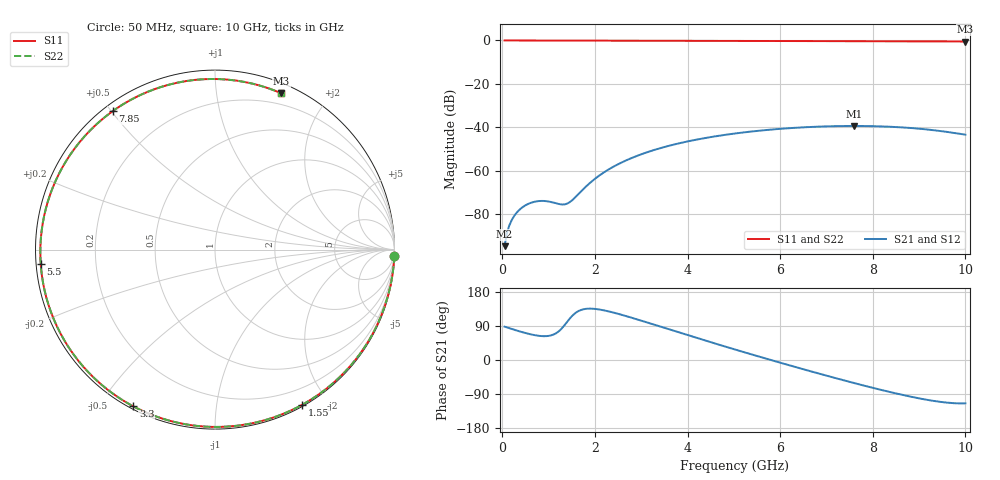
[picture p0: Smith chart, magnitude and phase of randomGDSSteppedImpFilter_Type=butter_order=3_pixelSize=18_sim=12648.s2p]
! freq	dB(S11)	phase(S11)	dB(S12)	phase(S12)
!  dB(S21)	phase(S21)	dB(S22)	phase(S22)
!S-par simulation data
#  GHz  S  DB  R 50
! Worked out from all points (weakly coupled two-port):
!   200 points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, 50 MHz to 10 GHz, reference 50 ohm
!   highest |S21| = -39.35 dB at 7.6 GHz (marker M1); lowest = -94.7 dB at 50 MHz (marker M2)
!   lowest |S11| = -0.5 dB at 10 GHz (marker M3), VSWR 35.93, Z = 4.56 + j75.3 ohm
!   |S11| at or under -10 dB: nowhere
!   |S22| runs from -0.5 to 0.0 dB; largest |S21 - S12| = 0
!   S11 on the Smith chart (normalised r, x): 50 MHz: 0, -56; 1.55 GHz: 0.02, -1.71; 3.3 GHz: 0.01, -0.61; 5.5 GHz: 0.01, -0.04; 7.85 GHz: 0.03, +0.51; 10 GHz: 0.09, +1.51
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0.05  -0.00 -2.1  -94.67 88.0  -94.67 88.0  -0.00 -2.1
0.25  -0.02 -10.2  -80.97 80.2  -80.97 80.2  -0.02 -10.2
0.5  -0.03 -20.2  -75.87 71.2  -75.87 71.2  -0.03 -20.2
0.7  -0.04 -28.2  -74.21 65.5  -74.21 65.5  -0.04 -28.2
0.95  -0.05 -38.0  -73.96 63.0  -73.96 63.0  -0.05 -38.0
1.35  -0.06 -53.2  -75.42 92.8  -75.42 92.8  -0.06 -53.2
1.55  -0.07 -60.6  -72.72 121.2  -72.72 121.2  -0.07 -60.6
1.75  -0.08 -67.8  -68.40 133.8  -68.40 133.8  -0.08 -67.8
2.05  -0.09 -78.2  -62.87 134.1  -62.87 134.1  -0.09 -78.2
2.4  -0.10 -89.9  -58.09 125.2  -58.09 125.2  -0.10 -89.9
3.3  -0.13 -117.5  -50.27 92.5  -50.27 92.5  -0.13 -117.5
3.4  -0.14 -120.4  -49.63 88.6  -49.63 88.6  -0.14 -120.4
4.25  -0.17 -143.7  -45.41 56.3  -45.41 56.3  -0.17 -143.7
5.05  -0.20 -164.2  -42.74 26.8  -42.74 26.8  -0.20 -164.2
5.5  -0.23 -175.3  -41.63 10.6  -41.63 10.6  -0.23 -175.3
6.1  -0.26 170.0  -40.52 -10.5  -40.52 -10.5  -0.26 170.0
6.7  -0.29 155.3  -39.77 -31.2  -39.77 -31.2  -0.29 155.3
7.6  -0.35 132.8  -39.35 -60.9  -39.35 -60.9  -0.35 132.8
7.85  -0.36 126.4  -39.39 -68.8  -39.39 -68.8  -0.36 126.4
8.35  -0.39 113.3  -39.69 -83.9  -39.69 -83.9  -0.39 113.3
9.2  -0.44 90.0  -41.02 -105.7  -41.02 -105.7  -0.44 90.0
10  -0.48 67.0  -43.35 -114.3  -43.35 -114.3  -0.48 67.1
